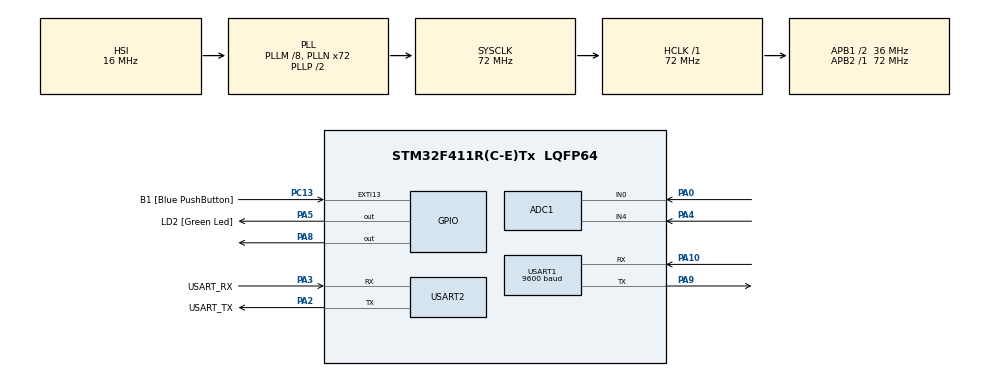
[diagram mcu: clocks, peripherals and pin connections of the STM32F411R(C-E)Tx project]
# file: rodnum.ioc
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ADC1.Channel-2\#ChannelRegularConversion=ADC_CHANNEL_0
ADC1.Channel-3\#ChannelRegularConversion=ADC_CHANNEL_4
ADC1.InjNumberOfConversion=0
ADC1.NbrOfConversion=2
ADC1.NbrOfConversionFlag=1
ADC1.Rank-2\#ChannelRegularConversion=1
ADC1.Rank-3\#ChannelRegularConversion=2
ADC1.SamplingTime-2\#ChannelRegularConversion=ADC_SAMPLETIME_3CYCLES
ADC1.SamplingTime-3\#ChannelRegularConversion=ADC_SAMPLETIME_3CYCLES
ADC1.master=1
Mcu.Family=STM32F4
Mcu.Name=STM32F411R(C-E)Tx
Mcu.Package=LQFP64
NVIC.PriorityGroup=NVIC_PRIORITYGROUP_0
NVIC.USART1_IRQn=true\:0\:0\:false\:false\:true\:true\:true\:true
PA0-WKUP.Signal=ADCx_IN0
PA10.Mode=Asynchronous
PA10.Signal=USART1_RX
PA13.GPIO_Label=TMS
PA13.Mode=Serial_Wire
PA13.Signal=SYS_JTMS-SWDIO
PA14.GPIO_Label=TCK
PA14.Mode=Serial_Wire
PA14.Signal=SYS_JTCK-SWCLK
PA2.GPIO_Label=USART_TX
PA2.Mode=Asynchronous
PA2.Signal=USART2_TX
PA3.GPIO_Label=USART_RX
PA3.Mode=Asynchronous
PA3.Signal=USART2_RX
PA4.Signal=ADCx_IN4
PA5.GPIO_Label=LD2 [Green Led]
PA5.Signal=GPIO_Output
PA8.Signal=GPIO_Output
PA9.Mode=Asynchronous
PA9.Signal=USART1_TX
PB3.GPIO_Label=SWO
PB3.Signal=SYS_JTDO-SWO
PC13-ANTI_TAMP.GPIO_Label=B1 [Blue PushButton]
PC13-ANTI_TAMP.GPIO_ModeDefaultEXTI=GPIO_MODE_IT_FALLING
PC13-ANTI_TAMP.Signal=GPXTI13
PC14-OSC32_IN.Mode=LSE-External-Oscillator
PC14-OSC32_IN.Signal=RCC_OSC32_IN
PC15-OSC32_OUT.Mode=LSE-External-Oscillator
PC15-OSC32_OUT.Signal=RCC_OSC32_OUT
PH0\ -\ OSC_IN.Mode=HSE-External-Clock-Source
PH0\ -\ OSC_IN.Signal=RCC_OSC_IN
PH1\ -\ OSC_OUT.Mode=HSE-External-Clock-Source
PH1\ -\ OSC_OUT.Signal=RCC_OSC_OUT
ProjectManager.HeapSize=0x200
ProjectManager.StackSize=0x400
ProjectManager.TargetToolchain=STM32CubeIDE
RCC.48MHZClocksFreq_Value=36000000
RCC.AHBFreq_Value=72000000
RCC.APB1CLKDivider=RCC_HCLK_DIV2
RCC.APB1Freq_Value=36000000
RCC.APB1TimFreq_Value=72000000
RCC.APB2Freq_Value=72000000
RCC.APB2TimFreq_Value=72000000
RCC.CortexFreq_Value=72000000
RCC.FLatency-AdvancedSettings=FLASH_LATENCY_2
RCC.HCLKFreq_Value=72000000
RCC.HSE_VALUE=8000000
RCC.HSI_VALUE=16000000
RCC.PLLM=8
RCC.PLLN=72
RCC.SYSCLKFreq_VALUE=72000000
RCC.SYSCLKSource=RCC_SYSCLKSOURCE_PLLCLK
RCC.VCOOutputFreq_Value=144000000
SH.ADCx_IN0.0=ADC1_IN0,IN0
SH.ADCx_IN4.0=ADC1_IN4,IN4
TIM1.Period=0xffff-1
TIM1.Prescaler=72-1
USART1.BaudRate=9600
USART1.VirtualMode=VM_ASYNC
USART2.VirtualMode=VM_ASYNC
VP_ADC1_TempSens_Input.Mode=IN-TempSens
VP_TIM1_VS_ClockSourceINT.Mode=Internal
board=NUCLEO-F411RE

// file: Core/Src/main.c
/* USER CODE BEGIN Header */
/**
  ******************************************************************************
  * @file           : main.c
  * @brief          : Main program body
  ******************************************************************************
  * @attention
  *
  * Copyright (c) 2023 STMicroelectronics.
  * All rights reserved.
  *
  * This software is licensed under terms that can be found in the LICENSE file
  * in the root directory of this software component.
  * If no LICENSE file comes with this software, it is provided AS-IS.
  *
  ******************************************************************************
  */
/* USER CODE END Header */
#include "main.h"

ADC_HandleTypeDef hadc1;

TIM_HandleTypeDef htim1;

UART_HandleTypeDef huart1;
UART_HandleTypeDef huart2;

void SystemClock_Config(void);
static void MX_GPIO_Init(void);
static void MX_USART2_UART_Init(void);
static void MX_ADC1_Init(void);
static void MX_TIM1_Init(void);
static void MX_USART1_UART_Init(void);

/* USER CODE BEGIN 0 */

/*********************************** ADC SELECT FUNCTIONS ********************************************/

void ADC_Select_CH0 (void)
{
	ADC_ChannelConfTypeDef sConfig = {0};
	  /** Configure for the selected ADC regular channel its corresponding rank in the sequencer and its sample time.
	  */
	  sConfig.Channel = ADC_CHANNEL_0;
	  sConfig.Rank = 1;
	  sConfig.SamplingTime = ADC_SAMPLETIME_28CYCLES;
	  if (HAL_ADC_ConfigChannel(&hadc1, &sConfig) != HAL_OK)
	  {
	    Error_Handler();
	  }
}

void ADC_Select_CH1 (void)
{
	ADC_ChannelConfTypeDef sConfig = {0};
	  /** Configure for the selected ADC regular channel its corresponding rank in the sequencer and its sample time.
	  */
	  sConfig.Channel = ADC_CHANNEL_1;
	  sConfig.Rank = 1;
	  sConfig.SamplingTime = ADC_SAMPLETIME_84CYCLES;
	  if (HAL_ADC_ConfigChannel(&hadc1, &sConfig) != HAL_OK)
	  {
	    Error_Handler();
	  }
}

void ADC_Select_CH4 (void)
{
	ADC_ChannelConfTypeDef sConfig = {0};
	  /** Configure for the selected ADC regular channel its corresponding rank in the sequencer and its sample time.
	  */
	  sConfig.Channel = ADC_CHANNEL_4;
	  sConfig.Rank = 1;
	  sConfig.SamplingTime = ADC_SAMPLETIME_84CYCLES;
	  if (HAL_ADC_ConfigChannel(&hadc1, &sConfig) != HAL_OK)
	  {
	    Error_Handler();
	  }
}

/*********************************** DHT11 FUNCTIONS ********************************************/

void delay (uint16_t time)
{
	/* change your code here for the delay in microseconds */
	__HAL_TIM_SET_COUNTER(&htim1, 0);
	while ((__HAL_TIM_GET_COUNTER(&htim1))<time);
}

uint8_t Rh_byte1, Rh_byte2, Temp_byte1, Temp_byte2;
uint16_t SUM, RH, TEMP;

int adcval =0;
float Temperature = 0;
float AirHumidity = 0;
uint8_t Presence = 0;

float SoilHumidity;
int Water = 0;
char uartBuffer[100];
uint32_t lastMilli = 0;

void Set_Pin_Output (GPIO_TypeDef *GPIOx, uint16_t GPIO_Pin)
{
	GPIO_InitTypeDef GPIO_InitStruct = {0};
	GPIO_InitStruct.Pin = GPIO_Pin;
	GPIO_InitStruct.Mode = GPIO_MODE_OUTPUT_PP;
	GPIO_InitStruct.Speed = GPIO_SPEED_FREQ_LOW;
	HAL_GPIO_Init(GPIOx, &GPIO_InitStruct);
}

void Set_Pin_Input (GPIO_TypeDef *GPIOx, uint16_t GPIO_Pin)
{
	GPIO_InitTypeDef GPIO_InitStruct = {0};
	GPIO_InitStruct.Pin = GPIO_Pin;
	GPIO_InitStruct.Mode = GPIO_MODE_INPUT;
	GPIO_InitStruct.Pull = GPIO_PULLUP;
	HAL_GPIO_Init(GPIOx, &GPIO_InitStruct);
}

// CHECK PIN !!!
#define DHT11_PORT GPIOA
#define DHT11_PIN GPIO_PIN_1

void DHT11_Start (void)
{
	Set_Pin_Output (DHT11_PORT, DHT11_PIN);  // set the pin as output
	HAL_GPIO_WritePin (DHT11_PORT, DHT11_PIN, 0);   // pull the pin low
	delay (18000);   // wait for 18ms
	HAL_GPIO_WritePin (DHT11_PORT, DHT11_PIN, 1);   // pull the pin high
	delay (20);   // wait for 20us
	Set_Pin_Input(DHT11_PORT, DHT11_PIN);    // set as input
}

uint8_t DHT11_Check_Response (void)
{
	uint8_t Response = 0;
	delay (40);
	if (!(HAL_GPIO_ReadPin (DHT11_PORT, DHT11_PIN)))
	{
		delay (80);
		if ((HAL_GPIO_ReadPin (DHT11_PORT, DHT11_PIN))) Response = 1;
		else Response = -1; // 255
	}
	while ((HAL_GPIO_ReadPin (DHT11_PORT, DHT11_PIN)));   // wait for the pin to go low

	return Response;
}

uint8_t DHT11_Read (void)
{
	uint8_t i,j;
	for (j=0;j<8;j++)
	{
		while (!(HAL_GPIO_ReadPin (DHT11_PORT, DHT11_PIN)));   // wait for the pin to go high
		delay (40);   // wait for 40 us
		if (!(HAL_GPIO_ReadPin (DHT11_PORT, DHT11_PIN)))   // if the pin is low
		{
			i&= ~(1<<(7-j));   // write 0
		}
		else i|= (1<<(7-j));  // if the pin is high, write 1
		while ((HAL_GPIO_ReadPin (DHT11_PORT, DHT11_PIN)));  // wait for the pin to go low
	}
	return i;
}

/***************************** NEW DHT11 *****************************************/

//#define DHT11_GPIO_PORT GPIOA
//#define DHT11_GPIO_PIN GPIO_PIN_1
//
//uint8_t data[5];
//
//// function to read data from DHT11
//void DHT11_ReadData(void)
//{
//	char strval[100];
//	sprintf(strval, "DHT11_START\r\n");
//	HAL_UART_Transmit(&huart2, strval, strlen(strval), 100);
//
//    uint8_t i;
//
//    // send start signal
//    HAL_GPIO_WritePin(DHT11_GPIO_PORT, DHT11_GPIO_PIN, GPIO_PIN_RESET);
//    HAL_Delay(20);
//    HAL_GPIO_WritePin(DHT11_GPIO_PORT, DHT11_GPIO_PIN, GPIO_PIN_SET);
//
//    // wait for response
//    HAL_Delay(40);
//
//    // initialize data array
//    memset(data, 0, sizeof(data));
//
//    // read 40 bits of data
//    for(i=0; i<40; i++)
//    {
//    	sprintf(strval, "DHT11_WAITL\r\n");
//    	HAL_UART_Transmit(&huart2, strval, strlen(strval), 100);
//        // wait for low pulse
//        while(!HAL_GPIO_ReadPin(DHT11_GPIO_PORT, DHT11_GPIO_PIN));
//
//        sprintf(strval, "DHT11_WAITH\r\n");
//        HAL_UART_Transmit(&huart2, strval, strlen(strval), 100);
//        // wait for high pulse
//        uint32_t t = 0;
//        while(HAL_GPIO_ReadPin(DHT11_GPIO_PORT, DHT11_GPIO_PIN))
//        {
//            t++;
//            sprintf(strval, "%d\r\nDHT11_t=%d\r\n", HAL_GPIO_ReadPin(DHT11_GPIO_PORT, DHT11_GPIO_PIN), t);
//        	HAL_UART_Transmit(&huart2, strval, strlen(strval), 100);
//            HAL_Delay(1);
//        }
//
//        // store bit value in data array
//        if(t > 30)
//            data[i/8] |= (1 << (7 - (i % 8)));
//    }
//
//    sprintf(strval, "DHT11_CHECK\r\n");
//    HAL_UART_Transmit(&huart2, strval, strlen(strval), 100);
//
//    // verify checksum
//    if(data[4] == (data[0] + data[1] + data[2] + data[3]))
//    {
//        // convert temperature and humidity values
//        uint8_t hum = data[0];
//        uint8_t temp = data[2];
//
//        // do something with temperature and humidity values
//        // ...
//        sprintf(strval, "hum=%d\ttemp=%d\r\n",(int)hum, (int)temp);
//        HAL_UART_Transmit(&huart2, strval, strlen(strval), 100);
//    }
//
//    sprintf(strval, "DHT11_FINISH\r\n");
//    HAL_UART_Transmit(&huart2, strval, strlen(strval), 100);
//}

/* USER CODE END 0 */

int main(void)
{

  /* MCU Configuration--------------------------------------------------------*/

  /* Reset of all peripherals, Initializes the Flash interface and the Systick. */
  HAL_Init();

  /* Configure the system clock */
  SystemClock_Config();

  /* Initialize all configured peripherals */
  MX_GPIO_Init();
  MX_USART2_UART_Init();
  MX_ADC1_Init();
  MX_TIM1_Init();
  MX_USART1_UART_Init();
  /* USER CODE BEGIN 2 */
  HAL_UART_Receive_IT(&huart1, uartBuffer, 1);
  /* USER CODE END 2 */

  /* Infinite loop */
  /* USER CODE BEGIN WHILE */
  char strval[100];
  lastMilli = 0;

  HAL_TIM_Base_Start(&htim1);

  while (1)
  {
	adcval = 0;
    // 8*2(humi(int)) + 8(temp(int)) + 8(temp(frac)) + 8(checksum)
//    uint32_t humitemp1 = 0;
//    uint32_t humitemp2 = 0;
//    uint32_t humitemp3 = 0;
//    uint32_t humitemp4 = 0;
//    uint32_t humitemp5 = 0;
//    int humi = 0;
//    int temp = 0;

    // Sensor LDR (Light)
    ADC_Select_CH0();
    HAL_ADC_Start(&hadc1);

    if(HAL_ADC_PollForConversion(&hadc1, 1000) == HAL_OK)
    {
      adcval = HAL_ADC_GetValue(&hadc1);
    }
    HAL_ADC_Stop(&hadc1);
//    sprintf(strval, "LDR=%d\r\n",(int)adcval);
//    HAL_UART_Transmit(&huart2, strval, strlen(strval), 100);

    // Sensor Soil
    ADC_Select_CH4();
    HAL_ADC_Start(&hadc1);

    if(HAL_ADC_PollForConversion(&hadc1, 1000) == HAL_OK)
    {
      SoilHumidity = HAL_ADC_GetValue(&hadc1);
    }
    HAL_ADC_Stop(&hadc1);
//    sprintf(strval, "Soil=%d\r\n",(int)SoilHumidity);
//    HAL_UART_Transmit(&huart2, strval, strlen(strval), 100);

    // Sensor DHT11 (Humidity and Temperature)
//    DHT11_ReadData();
  //  ADC_Select_CH1();
  //  HAL_ADC_Start(&hadc1);
  //  if(HAL_ADC_PollForConversion(&hadc1, 1000) == HAL_OK)
  //  {
  //    humitemp1 = HAL_ADC_GetValue(&hadc1);
  //  }
  //  if(HAL_ADC_PollForConversion(&hadc1, 1000) == HAL_OK)
  //  {
  //    humitemp2 = HAL_ADC_GetValue(&hadc1);
  //  }
  //  if(HAL_ADC_PollForConversion(&hadc1, 1000) == HAL_OK)
  //     {
  //       humitemp3 = HAL_ADC_GetValue(&hadc1);
  //     }
  //  if(HAL_ADC_PollForConversion(&hadc1, 1000) == HAL_OK)
  //     {
  //       humitemp4 = HAL_ADC_GetValue(&hadc1);
  //     }
  //  if(HAL_ADC_PollForConversion(&hadc1, 1000) == HAL_OK)
  //     {
  //       humitemp5 = HAL_ADC_GetValue(&hadc1);
  //     }
  //  HAL_ADC_Stop(&hadc1);
//   humi = humitemp >> 24;
//   temp = humitemp << 0x0000FFFF;
//   sprintf(strval, "%d\t%d\r\n",(int)humi, (int)temp);
//   HAL_UART_Transmit(&huart2, strval, strlen(strval), 100);

    /********************** DHT11 *********************/
	DHT11_Start();
	Presence = DHT11_Check_Response();
	Rh_byte1 = DHT11_Read ();
	Rh_byte2 = DHT11_Read ();
	Temp_byte1 = DHT11_Read ();
	Temp_byte2 = DHT11_Read ();
	SUM = DHT11_Read();

	TEMP = Temp_byte1;
	RH = Rh_byte1;

	Temperature = (float) TEMP;
	AirHumidity = (float) RH;

//	sprintf(strval, "Temp=%d\tHumid=%d\r\n",(int)Temperature, (int)AirHumidity);
//	HAL_UART_Transmit(&huart2, strval, strlen(strval), 100);

	// SENT:SoilHumidity,AirHumidity,Temperature,LDR
//	sprintf(strval, "SENT:%d,%d,%d,%d",(int)SoilHumidity,(int)AirHumidity,(int)Temperature,(int)adcval);
//	HAL_UART_Transmit(&huart2, strcat(strval, "\r\n"), strlen(strval), 100);

	// msg format
	//sprintf(strval, "%d|%d|%d|%d|%d",(int)adcval,(int)Temperature,(int)AirHumidity,(int)SoilHumidity,(int)Water);
	//HAL_UART_Transmit(&huart2, strcat(strval, "\r\n"), strlen(strval), 100);

	if(HAL_GetTick() - lastMilli > 10000 && Water){
		Water = 0;

		lastMilli = HAL_GetTick();
		char done2[10];
		sprintf(done2,"D\r\n");
		HAL_UART_Transmit(&huart1, done2, strlen(done2), 100);
	}
	HAL_GPIO_WritePin(GPIOA, GPIO_PIN_8, Water);
	HAL_Delay(1000);
    /* USER CODE END WHILE */

  }
}

void SystemClock_Config(void)
{
  RCC_OscInitTypeDef RCC_OscInitStruct = {0};
  RCC_ClkInitTypeDef RCC_ClkInitStruct = {0};

  /** Configure the main internal regulator output voltage
  */
  __HAL_RCC_PWR_CLK_ENABLE();
  __HAL_PWR_VOLTAGESCALING_CONFIG(PWR_REGULATOR_VOLTAGE_SCALE1);

  /** Initializes the RCC Oscillators according to the specified parameters
  * in the RCC_OscInitTypeDef structure.
  */
  RCC_OscInitStruct.OscillatorType = RCC_OSCILLATORTYPE_HSI;
  RCC_OscInitStruct.HSIState = RCC_HSI_ON;
  RCC_OscInitStruct.HSICalibrationValue = RCC_HSICALIBRATION_DEFAULT;
  RCC_OscInitStruct.PLL.PLLState = RCC_PLL_ON;
  RCC_OscInitStruct.PLL.PLLSource = RCC_PLLSOURCE_HSI;
  RCC_OscInitStruct.PLL.PLLM = 8;
  RCC_OscInitStruct.PLL.PLLN = 72;
  RCC_OscInitStruct.PLL.PLLP = RCC_PLLP_DIV2;
  RCC_OscInitStruct.PLL.PLLQ = 4;
  if (HAL_RCC_OscConfig(&RCC_OscInitStruct) != HAL_OK)
  {
    Error_Handler();
  }

  /** Initializes the CPU, AHB and APB buses clocks
  */
  RCC_ClkInitStruct.ClockType = RCC_CLOCKTYPE_HCLK|RCC_CLOCKTYPE_SYSCLK
                              |RCC_CLOCKTYPE_PCLK1|RCC_CLOCKTYPE_PCLK2;
  RCC_ClkInitStruct.SYSCLKSource = RCC_SYSCLKSOURCE_PLLCLK;
  RCC_ClkInitStruct.AHBCLKDivider = RCC_SYSCLK_DIV1;
  RCC_ClkInitStruct.APB1CLKDivider = RCC_HCLK_DIV2;
  RCC_ClkInitStruct.APB2CLKDivider = RCC_HCLK_DIV1;

  if (HAL_RCC_ClockConfig(&RCC_ClkInitStruct, FLASH_LATENCY_2) != HAL_OK)
  {
    Error_Handler();
  }
}

static void MX_ADC1_Init(void)
{

  ADC_ChannelConfTypeDef sConfig = {0};

  /** Configure the global features of the ADC (Clock, Resolution, Data Alignment and number of conversion)
  */
  hadc1.Instance = ADC1;
  hadc1.Init.ClockPrescaler = ADC_CLOCK_SYNC_PCLK_DIV2;
  hadc1.Init.Resolution = ADC_RESOLUTION_12B;
  hadc1.Init.ScanConvMode = ENABLE;
  hadc1.Init.ContinuousConvMode = DISABLE;
  hadc1.Init.DiscontinuousConvMode = DISABLE;
  hadc1.Init.ExternalTrigConvEdge = ADC_EXTERNALTRIGCONVEDGE_NONE;
  hadc1.Init.ExternalTrigConv = ADC_SOFTWARE_START;
  hadc1.Init.DataAlign = ADC_DATAALIGN_RIGHT;
  hadc1.Init.NbrOfConversion = 2;
  hadc1.Init.DMAContinuousRequests = DISABLE;
  hadc1.Init.EOCSelection = ADC_EOC_SINGLE_CONV;
  if (HAL_ADC_Init(&hadc1) != HAL_OK)
  {
    Error_Handler();
  }

  /** Configure for the selected ADC regular channel its corresponding rank in the sequencer and its sample time.
  */
  sConfig.Channel = ADC_CHANNEL_0;
  sConfig.Rank = 1;
  sConfig.SamplingTime = ADC_SAMPLETIME_3CYCLES;
  if (HAL_ADC_ConfigChannel(&hadc1, &sConfig) != HAL_OK)
  {
    Error_Handler();
  }

  /** Configure for the selected ADC regular channel its corresponding rank in the sequencer and its sample time.
  */
  sConfig.Channel = ADC_CHANNEL_4;
  sConfig.Rank = 2;
  if (HAL_ADC_ConfigChannel(&hadc1, &sConfig) != HAL_OK)
  {
    Error_Handler();
  }

}

static void MX_TIM1_Init(void)
{

  TIM_ClockConfigTypeDef sClockSourceConfig = {0};
  TIM_MasterConfigTypeDef sMasterConfig = {0};

  htim1.Instance = TIM1;
  htim1.Init.Prescaler = 72-1;
  htim1.Init.CounterMode = TIM_COUNTERMODE_UP;
  htim1.Init.Period = 0xffff-1;
  htim1.Init.ClockDivision = TIM_CLOCKDIVISION_DIV1;
  htim1.Init.RepetitionCounter = 0;
  htim1.Init.AutoReloadPreload = TIM_AUTORELOAD_PRELOAD_DISABLE;
  if (HAL_TIM_Base_Init(&htim1) != HAL_OK)
  {
    Error_Handler();
  }
  sClockSourceConfig.ClockSource = TIM_CLOCKSOURCE_INTERNAL;
  if (HAL_TIM_ConfigClockSource(&htim1, &sClockSourceConfig) != HAL_OK)
  {
    Error_Handler();
  }
  sMasterConfig.MasterOutputTrigger = TIM_TRGO_RESET;
  sMasterConfig.MasterSlaveMode = TIM_MASTERSLAVEMODE_DISABLE;
  if (HAL_TIMEx_MasterConfigSynchronization(&htim1, &sMasterConfig) != HAL_OK)
  {
    Error_Handler();
  }

}

static void MX_USART1_UART_Init(void)
{

  huart1.Instance = USART1;
  huart1.Init.BaudRate = 9600;
  huart1.Init.WordLength = UART_WORDLENGTH_8B;
  huart1.Init.StopBits = UART_STOPBITS_1;
  huart1.Init.Parity = UART_PARITY_NONE;
  huart1.Init.Mode = UART_MODE_TX_RX;
  huart1.Init.HwFlowCtl = UART_HWCONTROL_NONE;
  huart1.Init.OverSampling = UART_OVERSAMPLING_16;
  if (HAL_UART_Init(&huart1) != HAL_OK)
  {
    Error_Handler();
  }

}

static void MX_USART2_UART_Init(void)
{

  huart2.Instance = USART2;
  huart2.Init.BaudRate = 115200;
  huart2.Init.WordLength = UART_WORDLENGTH_8B;
  huart2.Init.StopBits = UART_STOPBITS_1;
  huart2.Init.Parity = UART_PARITY_NONE;
  huart2.Init.Mode = UART_MODE_TX_RX;
  huart2.Init.HwFlowCtl = UART_HWCONTROL_NONE;
  huart2.Init.OverSampling = UART_OVERSAMPLING_16;
  if (HAL_UART_Init(&huart2) != HAL_OK)
  {
    Error_Handler();
  }

}

static void MX_GPIO_Init(void)
{
  GPIO_InitTypeDef GPIO_InitStruct = {0};

  /* GPIO Ports Clock Enable */
  __HAL_RCC_GPIOC_CLK_ENABLE();
  __HAL_RCC_GPIOH_CLK_ENABLE();
  __HAL_RCC_GPIOA_CLK_ENABLE();
  __HAL_RCC_GPIOB_CLK_ENABLE();

  /*Configure GPIO pin Output Level */
  HAL_GPIO_WritePin(GPIOA, LD2_Pin|GPIO_PIN_8, GPIO_PIN_RESET);

  /*Configure GPIO pin : B1_Pin */
  GPIO_InitStruct.Pin = B1_Pin;
  GPIO_InitStruct.Mode = GPIO_MODE_IT_FALLING;
  GPIO_InitStruct.Pull = GPIO_NOPULL;
  HAL_GPIO_Init(B1_GPIO_Port, &GPIO_InitStruct);

  /*Configure GPIO pins : LD2_Pin PA8 */
  GPIO_InitStruct.Pin = LD2_Pin|GPIO_PIN_8;
  GPIO_InitStruct.Mode = GPIO_MODE_OUTPUT_PP;
  GPIO_InitStruct.Pull = GPIO_NOPULL;
  GPIO_InitStruct.Speed = GPIO_SPEED_FREQ_LOW;
  HAL_GPIO_Init(GPIOA, &GPIO_InitStruct);

}

/* USER CODE BEGIN 4 */
void HAL_UART_RxCpltCallback(UART_HandleTypeDef *huart){
	char received[100];
	char reset[2];
	reset[0]= '\r';
	reset[1] ='\n';

	sprintf(received, "received msg via interrupt!\r\n");

	HAL_UART_Transmit(&huart2, received, strlen(received), 100);
	HAL_UART_Transmit(&huart2, uartBuffer, 1, 100);
	HAL_UART_Transmit(&huart2, reset, 2, 100);
	if(uartBuffer[0]=='F'){
		char data[100];
		sprintf(data, "%d|%d|%d|%d|%d",(int)adcval,(int)Temperature,(int)AirHumidity,(int)SoilHumidity,(int)Water);
		//sprintf(data, "|31|69|2800|0");
		HAL_UART_Transmit(&huart1, data, strlen(data), 100);
	} else if (uartBuffer[0]=='W'){
		char test[100];
		Water = 1-Water;
		HAL_GPIO_WritePin(GPIOA, GPIO_PIN_5, Water);
		char done[10];
		sprintf(done,"D\r\n");
		HAL_UART_Transmit(&huart1, done, strlen(done), 100);
		lastMilli = HAL_GetTick();
	}
	HAL_UART_Receive_IT(&huart1, uartBuffer, 1);
}

/* USER CODE END 4 */

void Error_Handler(void)
{
  __disable_irq();
  while (1)
  {
  }
}
